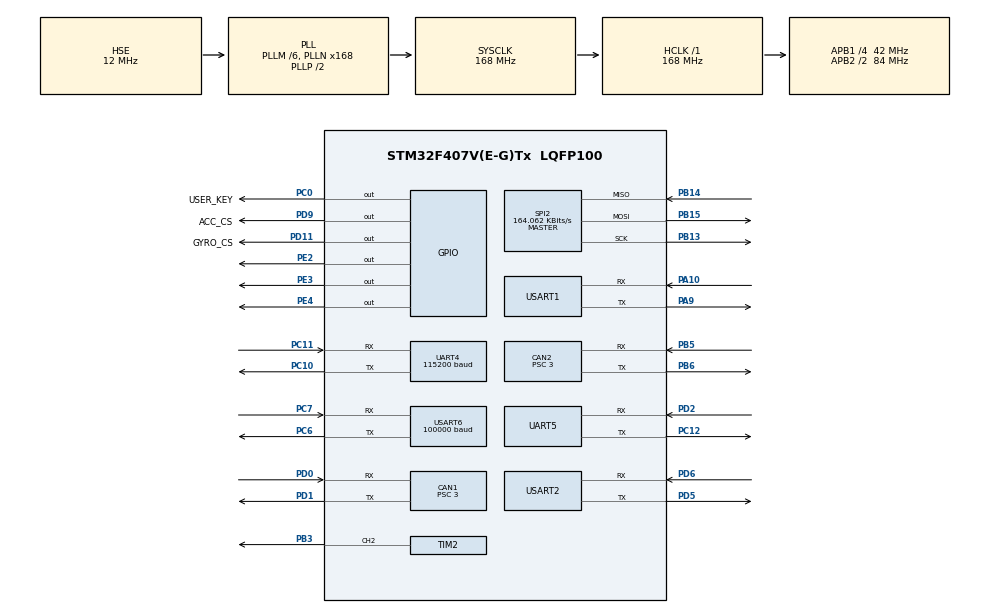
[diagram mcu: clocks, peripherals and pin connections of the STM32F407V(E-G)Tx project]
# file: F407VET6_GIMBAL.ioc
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CAN1.BS1=CAN_BS1_10TQ
CAN1.BS2=CAN_BS2_3TQ
CAN1.CalculateBaudRate=1000000
CAN1.CalculateTimeBit=1000
CAN1.CalculateTimeQuantum=71.42857142857143
CAN1.Prescaler=3
CAN2.BS1=CAN_BS1_10TQ
CAN2.BS2=CAN_BS2_3TQ
CAN2.CalculateBaudRate=1000000
CAN2.CalculateTimeBit=1000
CAN2.CalculateTimeQuantum=71.42857142857143
CAN2.Prescaler=3
Dma.Request0=USART6_RX
Dma.Request1=USART1_RX
Dma.Request2=USART1_TX
Dma.Request3=UART4_RX
Dma.Request4=UART4_TX
Dma.UART4_RX.3.Direction=DMA_PERIPH_TO_MEMORY
Dma.UART4_RX.3.FIFOMode=DMA_FIFOMODE_DISABLE
Dma.UART4_RX.3.Instance=DMA1_Stream2
Dma.UART4_RX.3.MemDataAlignment=DMA_MDATAALIGN_BYTE
Dma.UART4_RX.3.MemInc=DMA_MINC_ENABLE
Dma.UART4_RX.3.Mode=DMA_NORMAL
Dma.UART4_RX.3.PeriphDataAlignment=DMA_PDATAALIGN_BYTE
Dma.UART4_RX.3.PeriphInc=DMA_PINC_DISABLE
Dma.UART4_RX.3.Priority=DMA_PRIORITY_VERY_HIGH
Dma.UART4_TX.4.Direction=DMA_MEMORY_TO_PERIPH
Dma.UART4_TX.4.FIFOMode=DMA_FIFOMODE_DISABLE
Dma.UART4_TX.4.Instance=DMA1_Stream4
Dma.UART4_TX.4.MemDataAlignment=DMA_MDATAALIGN_BYTE
Dma.UART4_TX.4.MemInc=DMA_MINC_ENABLE
Dma.UART4_TX.4.Mode=DMA_CIRCULAR
Dma.UART4_TX.4.PeriphDataAlignment=DMA_PDATAALIGN_BYTE
Dma.UART4_TX.4.PeriphInc=DMA_PINC_DISABLE
Dma.UART4_TX.4.Priority=DMA_PRIORITY_VERY_HIGH
Dma.USART1_RX.1.Direction=DMA_PERIPH_TO_MEMORY
Dma.USART1_RX.1.FIFOMode=DMA_FIFOMODE_DISABLE
Dma.USART1_RX.1.Instance=DMA2_Stream2
Dma.USART1_RX.1.MemDataAlignment=DMA_MDATAALIGN_BYTE
Dma.USART1_RX.1.MemInc=DMA_MINC_ENABLE
Dma.USART1_RX.1.Mode=DMA_NORMAL
Dma.USART1_RX.1.PeriphDataAlignment=DMA_PDATAALIGN_BYTE
Dma.USART1_RX.1.PeriphInc=DMA_PINC_DISABLE
Dma.USART1_RX.1.Priority=DMA_PRIORITY_VERY_HIGH
Dma.USART1_TX.2.Direction=DMA_MEMORY_TO_PERIPH
Dma.USART1_TX.2.FIFOMode=DMA_FIFOMODE_DISABLE
Dma.USART1_TX.2.Instance=DMA2_Stream7
Dma.USART1_TX.2.MemDataAlignment=DMA_MDATAALIGN_BYTE
Dma.USART1_TX.2.MemInc=DMA_MINC_ENABLE
Dma.USART1_TX.2.Mode=DMA_CIRCULAR
Dma.USART1_TX.2.PeriphDataAlignment=DMA_PDATAALIGN_BYTE
Dma.USART1_TX.2.PeriphInc=DMA_PINC_DISABLE
Dma.USART1_TX.2.Priority=DMA_PRIORITY_VERY_HIGH
Dma.USART6_RX.0.Direction=DMA_PERIPH_TO_MEMORY
Dma.USART6_RX.0.FIFOMode=DMA_FIFOMODE_DISABLE
Dma.USART6_RX.0.Instance=DMA2_Stream1
Dma.USART6_RX.0.MemDataAlignment=DMA_MDATAALIGN_BYTE
Dma.USART6_RX.0.MemInc=DMA_MINC_ENABLE
Dma.USART6_RX.0.Mode=DMA_CIRCULAR
Dma.USART6_RX.0.PeriphDataAlignment=DMA_PDATAALIGN_BYTE
Dma.USART6_RX.0.PeriphInc=DMA_PINC_DISABLE
Dma.USART6_RX.0.Priority=DMA_PRIORITY_VERY_HIGH
FREERTOS.Tasks01=defaultTask,0,128,StartDefaultTask,Default,NULL,Dynamic,NULL,NULL;INS_TASK,3,512,INS_Task,Default,NULL,Dynamic,NULL,NULL;GIMBAL_TASK,1,512,GIMBAL_Task,Default,NULL,Dynamic,NULL,NULL;USART_TASK,1,128,USART_Task,Default,NULL,Dynamic,NULL,NULL;Imu_Temp_Task,1,512,Imu_temp_task,Default,NULL,Dynamic,NULL,NULL
Mcu.Family=STM32F4
Mcu.Name=STM32F407V(E-G)Tx
Mcu.Package=LQFP100
NVIC.CAN1_RX0_IRQn=true\:5\:0\:false\:false\:true\:true\:true\:true\:true
NVIC.CAN2_RX0_IRQn=true\:5\:0\:false\:false\:true\:true\:true\:true\:true
NVIC.DMA1_Stream2_IRQn=true\:5\:0\:false\:false\:true\:true\:false\:true\:true
NVIC.DMA1_Stream4_IRQn=true\:5\:0\:false\:false\:true\:true\:false\:true\:true
NVIC.DMA2_Stream1_IRQn=true\:5\:0\:false\:false\:true\:false\:false\:true\:true
NVIC.DMA2_Stream2_IRQn=true\:5\:0\:false\:false\:true\:false\:false\:true\:true
NVIC.DMA2_Stream7_IRQn=true\:5\:0\:false\:false\:true\:true\:false\:true\:true
NVIC.PriorityGroup=NVIC_PRIORITYGROUP_4
NVIC.TIM3_IRQn=true\:15\:0\:false\:false\:true\:false\:false\:true\:true
NVIC.TimeBase=TIM3_IRQn
NVIC.TimeBaseIP=TIM3
NVIC.UART4_IRQn=true\:4\:0\:true\:false\:false\:false\:true\:true\:true
NVIC.USART1_IRQn=true\:4\:0\:true\:false\:true\:false\:true\:true\:true
NVIC.USART6_IRQn=true\:5\:0\:true\:false\:true\:false\:true\:true\:true
PA10.Mode=Asynchronous
PA10.Signal=USART1_RX
PA13.Mode=Serial_Wire
PA13.Signal=SYS_JTMS-SWDIO
PA14.Mode=Serial_Wire
PA14.Signal=SYS_JTCK-SWCLK
PA9.Mode=Asynchronous
PA9.Signal=USART1_TX
PB13.Mode=Full_Duplex_Master
PB13.Signal=SPI2_SCK
PB14.Mode=Full_Duplex_Master
PB14.Signal=SPI2_MISO
PB15.Mode=Full_Duplex_Master
PB15.Signal=SPI2_MOSI
PB3.Signal=S_TIM2_CH2
PB5.Mode=CAN_Activate
PB5.Signal=CAN2_RX
PB6.Mode=CAN_Activate
PB6.Signal=CAN2_TX
PC0.GPIO_Label=USER_KEY
PC0.Signal=GPIO_Output
PC10.Mode=Asynchronous
PC10.Signal=UART4_TX
PC11.Mode=Asynchronous
PC11.Signal=UART4_RX
PC12.Mode=Asynchronous
PC12.Signal=UART5_TX
PC6.Mode=Asynchronous
PC6.Signal=USART6_TX
PC7.Mode=Asynchronous
PC7.Signal=USART6_RX
PD0.Mode=CAN_Activate
PD0.Signal=CAN1_RX
PD1.Mode=CAN_Activate
PD1.Signal=CAN1_TX
PD11.GPIO_Label=GYRO_CS
PD11.Signal=GPIO_Output
PD2.Mode=Asynchronous
PD2.Signal=UART5_RX
PD5.Mode=Asynchronous
PD5.Signal=USART2_TX
PD6.Mode=Asynchronous
PD6.Signal=USART2_RX
PD9.GPIO_Label=ACC_CS
PD9.Signal=GPIO_Output
PE2.Signal=GPIO_Output
PE3.PinState=GPIO_PIN_SET
PE3.Signal=GPIO_Output
PE4.PinState=GPIO_PIN_SET
PE4.Signal=GPIO_Output
PH0-OSC_IN.Mode=HSE-External-Oscillator
PH0-OSC_IN.Signal=RCC_OSC_IN
PH1-OSC_OUT.Mode=HSE-External-Oscillator
PH1-OSC_OUT.Signal=RCC_OSC_OUT
ProjectManager.HeapSize=0x200
ProjectManager.StackSize=0x400
ProjectManager.TargetToolchain=MDK-ARM V5.32
RCC.48MHZClocksFreq_Value=84000000
RCC.AHBFreq_Value=168000000
RCC.APB1CLKDivider=RCC_HCLK_DIV4
RCC.APB1Freq_Value=42000000
RCC.APB1TimFreq_Value=84000000
RCC.APB2CLKDivider=RCC_HCLK_DIV2
RCC.APB2Freq_Value=84000000
RCC.APB2TimFreq_Value=168000000
RCC.CortexFreq_Value=168000000
RCC.HCLKFreq_Value=168000000
RCC.HSE_VALUE=12000000
RCC.HSI_VALUE=16000000
RCC.LSE_VALUE=32768
RCC.PLLM=6
RCC.PLLN=168
RCC.PLLSourceVirtual=RCC_PLLSOURCE_HSE
RCC.SYSCLKFreq_VALUE=168000000
RCC.SYSCLKSource=RCC_SYSCLKSOURCE_PLLCLK
RCC.VCOOutputFreq_Value=336000000
SH.S_TIM2_CH2.0=TIM2_CH2,PWM Generation2 CH2
SPI2.BaudRatePrescaler=SPI_BAUDRATEPRESCALER_256
SPI2.CLKPhase=SPI_PHASE_2EDGE
SPI2.CLKPolarity=SPI_POLARITY_HIGH
SPI2.CalculateBaudRate=164.062 KBits/s
SPI2.Direction=SPI_DIRECTION_2LINES
SPI2.Mode=SPI_MODE_MASTER
SPI2.VirtualType=VM_MASTER
TIM2.Channel-PWM\ Generation2\ CH2=TIM_CHANNEL_2
TIM2.Period=4999
UART4.BaudRate=115200
UART4.VirtualMode=Asynchronous
UART5.VirtualMode=Asynchronous
USART1.VirtualMode=VM_ASYNC
USART2.VirtualMode=VM_ASYNC
USART6.BaudRate=100000
USART6.Parity=PARITY_EVEN
USART6.StopBits=STOPBITS_2
USART6.VirtualMode=VM_ASYNC
USART6.WordLength=WORDLENGTH_9B
VP_FREERTOS_VS_CMSIS_V1.Mode=CMSIS_V1
VP_SYS_VS_tim3.Mode=TIM3
board=custom

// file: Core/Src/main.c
/* USER CODE BEGIN Header */
/**
  ******************************************************************************
  * @file           : main.c
  * @brief          : Main program body
  ******************************************************************************
  * @attention
  *
  * Copyright (c) 2024 STMicroelectronics.
  * All rights reserved.
  *
  * This software is licensed under terms that can be found in the LICENSE file
  * in the root directory of this software component.
  * If no LICENSE file comes with this software, it is provided AS-IS.
  *
  ******************************************************************************
  */
/* USER CODE END Header */
#include "main.h"
#include "cmsis_os.h"
#include "can.h"
#include "dma.h"
#include "spi.h"
#include "tim.h"
#include "usart.h"
#include "gpio.h"

/* USER CODE BEGIN Includes */
#include "usart_rc_dbus.h"
#include "BMI088driver.h"
#include "BMI088reg.h"
#include "BMI088Middleware.h"
#include "bsp_dwt.h"
#include "can_receive.h"
#include "ins_task.h"
#include "gimbal.h"
#include "USART_task.h"
/* USER CODE END Includes */

void SystemClock_Config(void);
void MX_FREERTOS_Init(void);

int main(void)
{

  /* MCU Configuration--------------------------------------------------------*/

  /* Reset of all peripherals, Initializes the Flash interface and the Systick. */
  HAL_Init();

  /* Configure the system clock */
  SystemClock_Config();

  /* Initialize all configured peripherals */
  MX_GPIO_Init();
  MX_DMA_Init();
  MX_CAN1_Init();
  MX_CAN2_Init();
  MX_UART4_Init();
  MX_UART5_Init();
  MX_USART1_UART_Init();
  MX_USART2_UART_Init();
  MX_USART6_UART_Init();
  MX_SPI2_Init();
  MX_TIM2_Init();
  /* USER CODE BEGIN 2 */
	CAN_Init();
	RC_init();
	gimbal_init();
	USART_485_init();

	DWT_Init(168);
  /* BMI088初始化 *///之前已经对角速度和加速度的零飘校准过了，所以之后上电就不需要校准。如果硬件设备更换，则需要重新校准下
  while (BMI088_init(&hspi2, 0) != BMI088_NO_ERROR)
	{
	  HAL_GPIO_TogglePin(GPIOE,GPIO_PIN_2);
	}
  /* USER CODE END 2 */

  /* Call init function for freertos objects (in cmsis_os2.c) */
  MX_FREERTOS_Init();

  /* Start scheduler */
  osKernelStart();

  /* We should never get here as control is now taken by the scheduler */

  /* Infinite loop */
  while (1)
  {

  }
}

void SystemClock_Config(void)
{
  RCC_OscInitTypeDef RCC_OscInitStruct = {0};
  RCC_ClkInitTypeDef RCC_ClkInitStruct = {0};

  /** Configure the main internal regulator output voltage
  */
  __HAL_RCC_PWR_CLK_ENABLE();
  __HAL_PWR_VOLTAGESCALING_CONFIG(PWR_REGULATOR_VOLTAGE_SCALE1);

  /** Initializes the RCC Oscillators according to the specified parameters
  * in the RCC_OscInitTypeDef structure.
  */
  RCC_OscInitStruct.OscillatorType = RCC_OSCILLATORTYPE_HSE;
  RCC_OscInitStruct.HSEState = RCC_HSE_ON;
  RCC_OscInitStruct.PLL.PLLState = RCC_PLL_ON;
  RCC_OscInitStruct.PLL.PLLSource = RCC_PLLSOURCE_HSE;
  RCC_OscInitStruct.PLL.PLLM = 6;
  RCC_OscInitStruct.PLL.PLLN = 168;
  RCC_OscInitStruct.PLL.PLLP = RCC_PLLP_DIV2;
  RCC_OscInitStruct.PLL.PLLQ = 4;
  if (HAL_RCC_OscConfig(&RCC_OscInitStruct) != HAL_OK)
  {
    Error_Handler();
  }

  /** Initializes the CPU, AHB and APB buses clocks
  */
  RCC_ClkInitStruct.ClockType = RCC_CLOCKTYPE_HCLK|RCC_CLOCKTYPE_SYSCLK
                              |RCC_CLOCKTYPE_PCLK1|RCC_CLOCKTYPE_PCLK2;
  RCC_ClkInitStruct.SYSCLKSource = RCC_SYSCLKSOURCE_PLLCLK;
  RCC_ClkInitStruct.AHBCLKDivider = RCC_SYSCLK_DIV1;
  RCC_ClkInitStruct.APB1CLKDivider = RCC_HCLK_DIV4;
  RCC_ClkInitStruct.APB2CLKDivider = RCC_HCLK_DIV2;

  if (HAL_RCC_ClockConfig(&RCC_ClkInitStruct, FLASH_LATENCY_5) != HAL_OK)
  {
    Error_Handler();
  }
}

void HAL_TIM_PeriodElapsedCallback(TIM_HandleTypeDef *htim)
{
  if (htim->Instance == TIM3) {
    HAL_IncTick();
  }
}

void Error_Handler(void)
{
  __disable_irq();
  while (1)
  {
  }
}

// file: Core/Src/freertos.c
/* USER CODE BEGIN Header */
/**
  ******************************************************************************
  * File Name          : freertos.c
  * Description        : Code for freertos applications
  ******************************************************************************
  * @attention
  *
  * Copyright (c) 2024 STMicroelectronics.
  * All rights reserved.
  *
  * This software is licensed under terms that can be found in the LICENSE file
  * in the root directory of this software component.
  * If no LICENSE file comes with this software, it is provided AS-IS.
  *
  ******************************************************************************
  */
/* USER CODE END Header */

#include "FreeRTOS.h"
#include "task.h"
#include "main.h"
#include "cmsis_os.h"

/* USER CODE BEGIN Includes */
#include "ins_task.h"
#include "gimbal.h"
#include "USART_task.h"
#include "imu_temp_task.h"
/* USER CODE END Includes */

osThreadId defaultTaskHandle;
osThreadId INS_TASKHandle;
osThreadId GIMBAL_TASKHandle;
osThreadId USART_TASKHandle;
osThreadId Imu_Temp_TaskHandle;

void StartDefaultTask(void const * argument);
void INS_Task(void const * argument);
void GIMBAL_Task(void const * argument);
void USART_Task(void const * argument);
void Imu_temp_task(void const * argument);

void MX_FREERTOS_Init(void); /* (MISRA C 2004 rule 8.1) */

/* GetIdleTaskMemory prototype (linked to static allocation support) */
void vApplicationGetIdleTaskMemory( StaticTask_t **ppxIdleTaskTCBBuffer, StackType_t **ppxIdleTaskStackBuffer, uint32_t *pulIdleTaskStackSize );

/* USER CODE BEGIN GET_IDLE_TASK_MEMORY */
static StaticTask_t xIdleTaskTCBBuffer;
static StackType_t xIdleStack[configMINIMAL_STACK_SIZE];

void vApplicationGetIdleTaskMemory( StaticTask_t **ppxIdleTaskTCBBuffer, StackType_t **ppxIdleTaskStackBuffer, uint32_t *pulIdleTaskStackSize )
{
  *ppxIdleTaskTCBBuffer = &xIdleTaskTCBBuffer;
  *ppxIdleTaskStackBuffer = &xIdleStack[0];
  *pulIdleTaskStackSize = configMINIMAL_STACK_SIZE;
  /* place for user code */
}
/* USER CODE END GET_IDLE_TASK_MEMORY */

void MX_FREERTOS_Init(void) {

  /* Create the thread(s) */
  /* definition and creation of defaultTask */
  osThreadDef(defaultTask, StartDefaultTask, osPriorityNormal, 0, 128);
  defaultTaskHandle = osThreadCreate(osThread(defaultTask), NULL);

  /* definition and creation of INS_TASK */
  osThreadDef(INS_TASK, INS_Task, osPriorityRealtime, 0, 512);
  INS_TASKHandle = osThreadCreate(osThread(INS_TASK), NULL);

  /* definition and creation of GIMBAL_TASK */
  osThreadDef(GIMBAL_TASK, GIMBAL_Task, osPriorityAboveNormal, 0, 512);
  GIMBAL_TASKHandle = osThreadCreate(osThread(GIMBAL_TASK), NULL);

  /* definition and creation of USART_TASK */
  osThreadDef(USART_TASK, USART_Task, osPriorityAboveNormal, 0, 128);
  USART_TASKHandle = osThreadCreate(osThread(USART_TASK), NULL);

  /* definition and creation of Imu_Temp_Task */
  osThreadDef(Imu_Temp_Task, Imu_temp_task, osPriorityAboveNormal, 0, 512);
  Imu_Temp_TaskHandle = osThreadCreate(osThread(Imu_Temp_Task), NULL);

}

void StartDefaultTask(void const * argument)
{
  for(;;)
  {
    osDelay(1);
  }
}

void INS_Task(void const * argument)
{
  /* USER CODE BEGIN INS_Task */
  /* Infinite loop */
  for(;;)
  {
		INS_task();
  }
  /* USER CODE END INS_Task */
}

void GIMBAL_Task(void const * argument)
{
  /* USER CODE BEGIN GIMBAL_Task */
  /* Infinite loop */
  for(;;)
  {
		gimbal_task();
  }
  /* USER CODE END GIMBAL_Task */
}

void USART_Task(void const * argument)
{
  /* USER CODE BEGIN USART_Task */
  /* Infinite loop */
  for(;;)
  {
		USART_task();
  }
  /* USER CODE END USART_Task */
}

void Imu_temp_task(void const * argument)
{
  /* USER CODE BEGIN Imu_temp_task */
  /* Infinite loop */
  for(;;)
  {
//    imu_temp_task();
  }
  /* USER CODE END Imu_temp_task */
}
